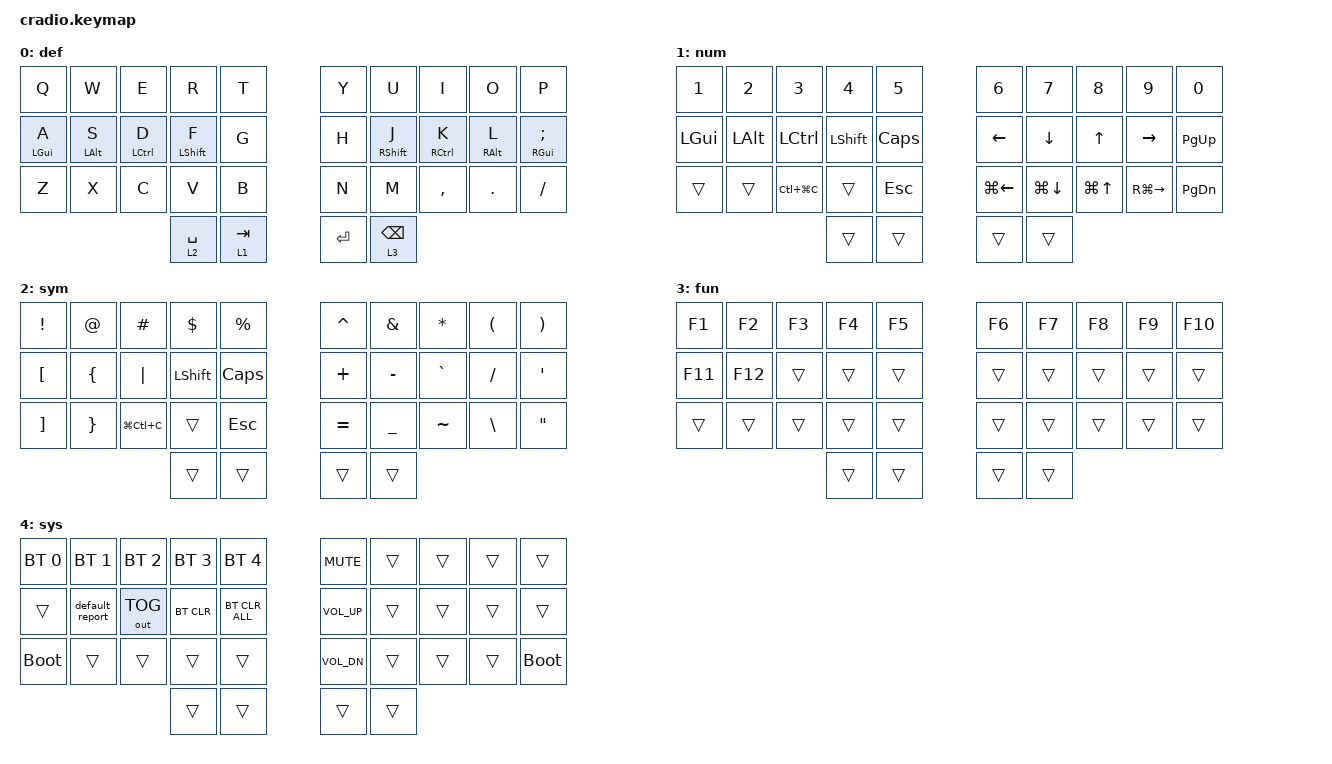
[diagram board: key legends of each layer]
// Copyright (c) 2022 The ZMK Contributors
// SPDX-License-Identifier: MIT

#define ZMK_MOUSE_DEFAULT_MOVE_VAL 2500  // 600
#define ZMK_MOUSE_DEFAULT_SCRL_VAL 20    // 10

#include <dt-bindings/zmk/mouse.h>
#include <behaviors.dtsi>
#include <dt-bindings/zmk/bt.h>
#include <dt-bindings/zmk/keys.h>
#include <dt-bindings/zmk/outputs.h>

#define DEF 0
#define NUM 1
#define SYM 2
#define FUN 3
#define SYS 4
#define MOUSE 5
#define U_MS_U &mmv MOVE_UP
#define U_MS_D &mmv MOVE_DOWN
#define U_MS_L &mmv MOVE_LEFT
#define U_MS_R &mmv MOVE_RIGHT
#define U_WH_U &msc SCRL_UP
#define U_WH_D &msc SCRL_DOWN
#define U_WH_L &msc SCRL_LEFT
#define U_WH_R &msc SCRL_RIGHT

&lt {
    flavor = "hold-preferred";
    quick-tap-ms = <180>;
};

/ {
    chosen { zmk,charmap = &charmap_us; };

    behaviors {
        ht: hold_tap {
            label = "hold_tap";
            compatible = "zmk,behavior-hold-tap";
            #binding-cells = <2>;
            flavor = "tap-preferred";
            tapping-term-ms = <220>;
            quick-tap-ms = <150>;
            global-quick-tap;
            bindings = <&kp>, <&kp>;
        };

        mmv {
            acceleration-exponent = <1>;      // 1
            time-to-max-speed-ms = <300>;    // 40
            delay-ms = <0>;                   // 0
        };

        msc {
            acceleration-exponent = <0>;      // 0
            time-to-max-speed-ms = <40>;      // 500
            delay-ms = <0>;                   // 10
        };
    };

    conditional_layers {
        compatible = "zmk,conditional-layers";

        tri_layer {
            if-layers = <2 3>;
            then-layer = <4>;
        };
    };

    combos {
        compatible = "zmk,combos";

        bac {
            bindings = <&kp BACKSLASH>;
            key-positions = <3 14>;
        };

        pipe {
            bindings = <&kp PIPE>;
            key-positions = <15 5>;
            timeout-ms = <30>;
        };

        esc {
            bindings = <&kp ESC>;
            key-positions = <11 12>;
            timeout-ms = <30>;
        };

        enter {
            bindings = <&kp ENTER>;
            key-positions = <16 17>;
            timeout-ms = <30>;
        };

        tab {
            bindings = <&kp TAB>;
            key-positions = <12 13>;
            timeout-ms = <30>;
        };

        back {
            bindings = <&kp BACKSPACE>;
            key-positions = <17 18>;
            timeout-ms = <30>;
        };

        slash {
            bindings = <&kp SLASH>;
            key-positions = <15 6>;
        };
    };

    keymap {
        compatible = "zmk,keymap";

        def {
            bindings = <
&kp Q       &kp W       &kp E        &kp R        &kp T        &kp Y      &kp U        &kp I        &kp O       &kp P
&ht LGUI A  &ht LALT S  &ht LCTRL D  &ht LSHFT F  &kp G        &kp H      &ht RSHFT J  &ht RCTRL K  &ht RALT L  &ht RGUI SEMI
&kp Z       &kp X       &kp C        &kp V        &kp B        &kp N      &kp M        &kp COMMA    &kp DOT     &kp FSLH
                                     &lt 2 SPACE  &lt 1 TAB    &kp ENTER  &lt 3 BSPC
            >;
        };

        num {
            bindings = <
&kp N1        &kp N2        &kp N3         &kp N4          &kp N5          &kp N6        &kp N7        &kp N8      &kp N9         &kp N0
&kp LEFT_GUI  &kp LEFT_ALT  &kp LCTRL      &kp LEFT_SHIFT  &kp CAPSLOCK    &kp LEFT      &kp DOWN      &kp UP      &kp RIGHT      &kp PAGE_UP
&trans        &trans        &kp LC(LG(C))  &trans          &kp ESC         &kp LG(LEFT)  &kp LG(DOWN)  &kp LG(UP)  &kp RG(RIGHT)  &kp PAGE_DOWN
                                           &trans          &trans          &trans        &trans
            >;
        };

        sym {
            bindings = <
&kp EXCLAMATION    &kp AT           &kp HASH       &kp DOLLAR      &kp PERCENT     &kp CARET  &kp AMPERSAND  &kp ASTERISK  &kp LEFT_PARENTHESIS  &kp RIGHT_PARENTHESIS
&kp LEFT_BRACKET   &kp LEFT_BRACE   &kp PIPE       &kp LEFT_SHIFT  &kp CAPSLOCK    &kp PLUS   &kp MINUS      &kp GRAVE     &kp SLASH             &kp SINGLE_QUOTE
&kp RIGHT_BRACKET  &kp RIGHT_BRACE  &kp LG(LC(C))  &trans          &kp ESC         &kp EQUAL  &kp UNDER      &kp TILDE     &kp BACKSLASH         &kp DOUBLE_QUOTES
                                                   &trans          &trans          &trans     &trans
            >;
        };

        fun {
            bindings = <
&kp F1   &kp F2   &kp F3  &kp F4  &kp F5    &kp F6  &kp F7  &kp F8  &kp F9  &kp F10
&kp F11  &kp F12  &trans  &trans  &trans    &trans  &trans  &trans  &trans  &trans
&trans   &trans   &trans  &trans  &trans    &trans  &trans  &trans  &trans  &trans
                          &trans  &trans    &trans  &trans
            >;
        };

        sys {
            bindings = <
&bt BT_SEL 0  &bt BT_SEL 1     &bt BT_SEL 2  &bt BT_SEL 3  &bt BT_SEL 4      &kp C_MUTE       &trans  &trans  &trans  &trans
&trans        &default_report  &out OUT_TOG  &bt BT_CLR    &bt BT_CLR_ALL    &kp C_VOLUME_UP  &trans  &trans  &trans  &trans
&bootloader   &trans           &trans        &trans        &trans            &kp C_VOL_DN     &trans  &trans  &trans  &bootloader
                                             &trans        &trans            &trans           &trans
            >;
        };
    };
};
